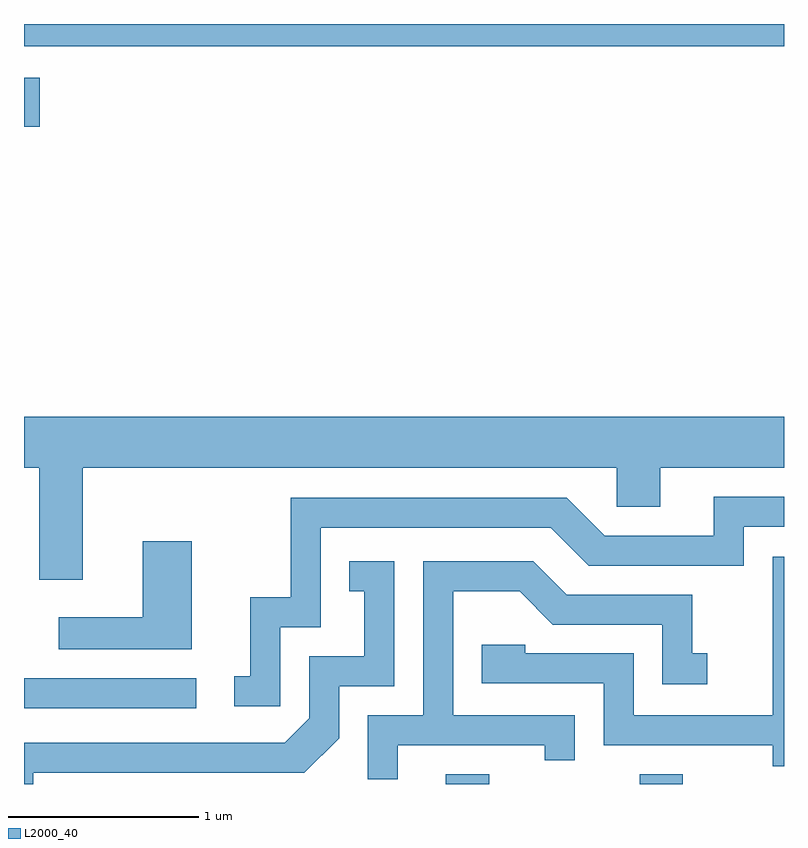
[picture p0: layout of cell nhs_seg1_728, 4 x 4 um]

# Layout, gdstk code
import gdstk
lib = gdstk.Library(unit=1e-6, precision=1e-09)
def R(c, l, rs):  # rectangles x0, y0, x1, y1
    for r in rs: c.add(gdstk.rectangle(r[:2], r[2:], *l))
def P(c, l, *ps):  # polygons
    for p in ps: c.add(gdstk.Polygon(p, *l))
L2000_40 = (2000, 40)

nhs_seg1_728 = lib.new_cell('nhs_seg1_728')
R(nhs_seg1_728, L2000_40, [(209.831,875.712,210.059,875.764), (210.851,875.712,211.079,875.764), (207.611,876.111,208.518,876.269), (207.611,879.171,207.694,879.429), (207.611,879.596,211.611,879.712)])
P(nhs_seg1_728, L2000_40, [(207.611,877.376),(207.691,877.376),(207.691,876.786),(207.919,876.786),(207.919,877.376),(210.731,877.376),(210.731,877.171),(210.959,877.171),(210.959,877.376),(211.611,877.376),(211.611,877.644),(207.611,877.644)],
  [(208.959,876.536),(209.174,876.536),(209.174,877.061),(210.384,877.061),(210.584,876.861),(211.399,876.861),(211.399,877.066),(211.611,877.066),(211.611,877.224),(211.241,877.224),(211.241,877.019),(210.667,877.019),(210.467,877.219),(209.016,877.219),(209.016,876.694),(208.801,876.694),(208.801,876.279),(208.718,876.279),(208.718,876.121),(208.959,876.121)],
  [(208.494,876.989),(208.236,876.989),(208.236,876.589),(207.793,876.589),(207.793,876.421),(208.494,876.421)],
  [(211.611,876.909),(211.551,876.909),(211.551,876.074),(210.819,876.074),(210.819,876.399),(210.249,876.399),(210.249,876.444),(210.021,876.444),(210.021,876.241),(210.661,876.241),(210.661,875.916),(211.551,875.916),(211.551,875.806),(211.611,875.806)],
  [(209.579,875.916),(210.351,875.916),(210.351,875.838),(210.509,875.838),(210.509,876.074),(209.869,876.074),(209.869,876.726),(210.219,876.726),(210.394,876.551),(210.971,876.551),(210.971,876.236),(211.208,876.236),(211.208,876.399),(211.129,876.399),(211.129,876.709),(210.467,876.709),(210.292,876.884),(209.711,876.884),(209.711,876.074),(209.421,876.074),(209.421,875.738),(209.579,875.738)],
  [(207.659,875.771),(209.087,875.771),(209.269,875.954),(209.269,876.226),(209.559,876.226),(209.559,876.884),(209.323,876.884),(209.323,876.726),(209.401,876.726),(209.401,876.384),(209.111,876.384),(209.111,876.057),(208.984,875.929),(207.611,875.929),(207.611,875.712),(207.659,875.712)])

lib.write_gds('nhs_seg1_728.gds')
